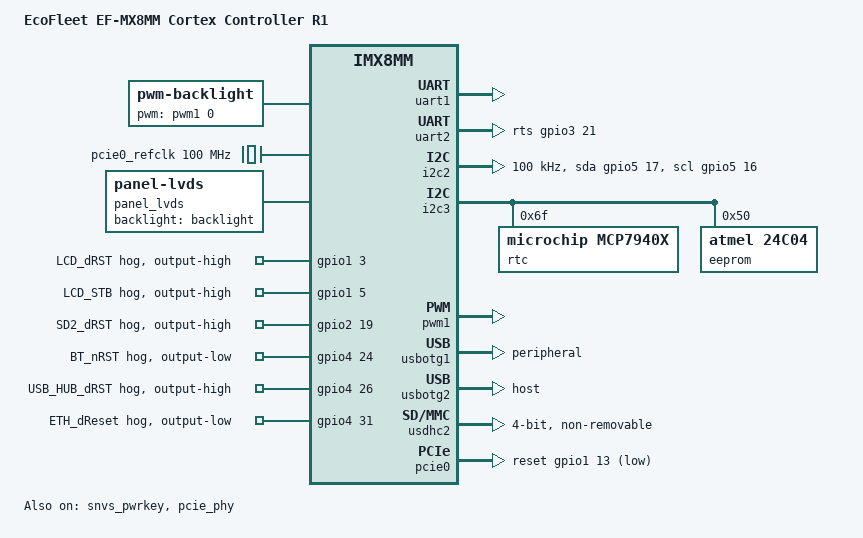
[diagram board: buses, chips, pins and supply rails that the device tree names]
// SPDX-License-Identifier: (GPL-2.0+ OR MIT)
/*
 * EcoFleet EF-MX8MM "Cortex Controller" R1 carrier for the Variscite
 * DART-MX8M-MINI (R1-spec SoM: no on-SoM Ethernet PHY, LVDS bridge, WiFi/BT).
 *
 * Only the carrier is described here; DDR, PMIC, SoM eMMC, WiFi/BT and the
 * SN65DSI84 LVDS bridge come from Variscite's imx8mm-var-dart.dtsi.
 * Schematic: EF-MX8MM R1.00.00. Design:
 * docs/superpowers/specs/2026-10-14-r1-board-support-design.md
 */

#include "imx8mm-var-dart.dtsi"

/ {
	model = "EcoFleet EF-MX8MM Cortex Controller R1";
	compatible = "ecofleet,ef-mx8mm", "variscite,imx8mm-var-dart", "fsl,imx8mm";

	aliases {
		/* Marker for udev (99-ecofleet-rs485.rules): the APU RS-485 port.
		 * The name must not end in a digit, or the kernel parses it as a
		 * numbered alias. */
		ecofleet-rs485-uart = &uart2;
	};

	chosen {
		stdout-path = &uart1;
	};

	/* R1 uses the SAI3 pads as GPIOs (Ethernet reset/IRQ, RTC wake, Ezurio
	 * wake); the SoM's WM8904 headphone/mic path is not wired out. */
	/delete-node/ sound-wm8904;

	backlight: backlight {
		compatible = "pwm-backlight";
		pwms = <&pwm1 0 1000000 0>;
		brightness-levels = < 0  1  2  3  4  5  6  7  8  9
				     10 11 12 13 14 15 16 17 18 19
				     20 21 22 23 24 25 26 27 28 29
				     30 31 32 33 34 35 36 37 38 39
				     40 41 42 43 44 45 46 47 48 49
				     50 51 52 53 54 55 56 57 58 59
				     60 61 62 63 64 65 66 67 68 69
				     70 71 72 73 74 75 76 77 78 79
				     80 81 82 83 84 85 86 87 88 89
				     90 91 92 93 94 95 96 97 98 99
				    100>;
		default-brightness-level = <80>;
		status = "okay";
	};

	/* 100 MHz PCIe reference clock from the carrier's clock generator (U24) */
	pcie0_refclk: pcie0-refclk {
		compatible = "fixed-clock";
		#clock-cells = <0>;
		clock-frequency = <100000000>;
	};
};

/* ---------------------------------------------------------------- UARTs */

/* Console. On R1 this UART is also wired to the Ezurio module, which is held
 * in reset (BT_nRST hog below) for the whole board-support phase. */
&uart1 {
	pinctrl-names = "default";
	pinctrl-0 = <&pinctrl_uart1>;
	status = "okay";
};

/* APU RS-485 (ISO1450). DE and /RE are tied to GPIO3_IO21: the kernel drives
 * DE high only while sending, so there is no echo and no userspace switching. */
&uart2 {
	pinctrl-names = "default";
	pinctrl-0 = <&pinctrl_uart2>;
	rts-gpios = <&gpio3 21 GPIO_ACTIVE_HIGH>;
	linux,rs485-enabled-at-boot-time;
	status = "okay";
};

/* Wired to the TCAN3414 CAN transceiver, but the i.MX8M Mini has no CAN
 * controller, so there is nothing to drive it with. */
&uart3 {
	status = "disabled";
};

/* ------------------------------------------------------------------ I2C */

/* Panel touch controller (added during bring-up once its address is known) */
&i2c2 {
	clock-frequency = <100000>;
	pinctrl-names = "default", "gpio";
	pinctrl-0 = <&pinctrl_i2c2>;
	pinctrl-1 = <&pinctrl_i2c2_gpio>;
	scl-gpios = <&gpio5 16 GPIO_ACTIVE_HIGH>;
	sda-gpios = <&gpio5 17 GPIO_ACTIVE_HIGH>;
	status = "okay";
};

&i2c3 {
	/* Battery-backed RTC; the boot script also probes 0x6f to detect R1 */
	rtc@6f {
		compatible = "microchip,mcp7940x";
		reg = <0x6f>;
	};

	/* BR24G04 4 Kbit carrier EEPROM (blank for now) */
	eeprom@50 {
		compatible = "atmel,24c04";
		reg = <0x50>;
		pagesize = <16>;
	};
};

&wm8904 {
	status = "disabled";
};

&sai3 {
	status = "disabled";
};

/* The MCP7940N is the only RTC (rtc0), as the DS1337 is on the dev kit */
&snvs_rtc {
	status = "disabled";
};

&snvs_pwrkey {
	status = "okay";
};

/* -------------------------------------------------------------- Display */

/* Riverdi 5" 800x480 LVDS (SM-RVT50HQLNWC00-B) behind the SoM's SN65DSI84.
 * Timings start from the dev kit's 800x480 panel; replace with the Riverdi
 * datasheet values during bring-up. */
&panel_lvds {
	compatible = "panel-lvds";
	data-mapping = "jeida-24";
	width-mm = <108>;
	height-mm = <65>;
	backlight = <&backlight>;

	panel-timing {
		clock-frequency = <33000000>;
		hactive = <800>;
		vactive = <480>;
		hback-porch = <30>;
		hfront-porch = <30>;
		vback-porch = <29>;
		vfront-porch = <13>;
		hsync-len = <48>;
		vsync-len = <3>;
		hsync-active = <0>;
		vsync-active = <0>;
		de-active = <1>;
		pixelclk-active = <0>;
	};
};

/* Backlight boost (MP3302) EN, PWM dimming */
&pwm1 {
	pinctrl-names = "default";
	pinctrl-0 = <&pinctrl_backlight>;
	status = "okay";
};

/* ------------------------------------------------------------- Ethernet */

/* KSZ9031 on the carrier over RGMII. No PHY node: the driver resets the PHY
 * through ETH_dReset and takes the first PHY it finds on MDIO, so the strap
 * address does not need to be known.
 *
 * OFF on R1: NVCC_ENET is 1.8 V but the PHY's DVDDH is 3.3 V (R1 hardware
 * finding 3), so its RGMII outputs would drive 3.3 V into 1.8 V SoC pads. The
 * PHY is held in reset instead (eth-rst-hog), where its strap pins are inputs.
 * To turn Ethernet on once the hardware is fixed: status = "okay" here and
 * delete eth-rst-hog (phy-reset-gpios needs that line). */
&fec1 {
	phy-mode = "rgmii-id";
	/delete-property/ phy-handle;
	/delete-property/ phy-supply;
	phy-reset-gpios = <&gpio4 31 GPIO_ACTIVE_LOW>;
	phy-reset-duration = <10>;
	phy-reset-post-delay = <1>;
	status = "disabled";
	/delete-node/ mdio;
};

/* Powered the SoM's own PHY, which the R1 SoM does not have */
&reg_eth_phy {
	status = "disabled";
};

/* ------------------------------------------------------------------ USB */

/* USB-C: Rd pull-downs on CC and no VBUS source, so device role only */
&usbotg1 {
	dr_mode = "peripheral";
	status = "okay";
};

/* Upstream of the USB2422 hub (2x USB-A); the hub handles over-current */
&usbotg2 {
	dr_mode = "host";
	disable-over-current;
	status = "okay";
};

/* --------------------------------------------------------- Carrier eMMC */

/* 4 GB recovery eMMC, 4-bit, VCCQ 3.3 V, so never switch to 1.8 V signalling.
 * Shows up as mmcblk1; the SoM eMMC stays mmcblk2. */
&usdhc2 {
	pinctrl-names = "default";
	pinctrl-0 = <&pinctrl_usdhc2>;
	bus-width = <4>;
	non-removable;
	no-1-8-v;
	no-sd;
	no-sdio;
	status = "okay";
};

/* ----------------------------------------------------------------- PCIe */

/* M.2 Key-M NVMe; reference clock comes in on the PCIE1_REF_CLK pads */
&pcie_phy {
	fsl,refclk-pad-mode = <IMX8_PCIE_REFCLK_PAD_INPUT>;
	fsl,tx-deemph-gen1 = <0x2d>;
	fsl,tx-deemph-gen2 = <0xf>;
	fsl,clkreq-unsupported;
	clocks = <&pcie0_refclk>;
	status = "okay";
};

&pcie0 {
	reset-gpio = <&gpio1 13 GPIO_ACTIVE_LOW>;
	clocks = <&clk IMX8MM_CLK_PCIE1_ROOT>, <&pcie0_refclk>,
		 <&clk IMX8MM_CLK_PCIE1_AUX>;
	assigned-clocks = <&clk IMX8MM_CLK_PCIE1_AUX>,
			  <&clk IMX8MM_CLK_PCIE1_CTRL>;
	assigned-clock-rates = <10000000>, <250000000>;
	assigned-clock-parents = <&clk IMX8MM_SYS_PLL2_50M>,
				 <&clk IMX8MM_SYS_PLL2_250M>;
	status = "okay";
};

/* ---------------------------------------------------------------- GPIOs */

&gpio1 {
	gpio-line-names = "", "", "", "LCD_dRST", "", "LCD_STB", "LCD_FLIP_LR", "",
			  "LCD_FLIP_UD", "", "I2C_IRQ", "BT_CTS", "BT_RTS", "PCIE1_dRST",
			  "PCIE1_WAKE";

	/* Panel and touch share this reset, so neither driver owns it */
	lcd-rst-hog {
		gpio-hog;
		gpios = <3 GPIO_ACTIVE_HIGH>;
		output-high;
		line-name = "LCD_dRST";
	};

	lcd-stb-hog {
		gpio-hog;
		gpios = <5 GPIO_ACTIVE_HIGH>;
		output-high;
		line-name = "LCD_STB";
	};
};

&gpio2 {
	gpio-line-names = "", "", "", "", "", "", "", "", "", "",
			  "", "", "", "", "", "", "", "", "", "SD2_dRST";

	sd2-rst-hog {
		gpio-hog;
		gpios = <19 GPIO_ACTIVE_HIGH>;
		output-high;
		line-name = "SD2_dRST";
	};
};

&gpio3 {
	gpio-line-names = "", "", "", "", "", "", "", "", "", "",
			  "", "", "", "", "", "", "", "", "", "",
			  "", "RS485_DE";
};

&gpio4 {
	gpio-line-names = "", "", "", "", "", "", "", "", "", "",
			  "", "", "", "", "", "", "", "", "", "",
			  "", "BT_RCVRY_MD", "FD_CAN_EN", "", "BT_nRST", "NVMe_ACT",
			  "USB_HUB_dRST", "CAB_TEMP", "", "", "", "ETH_dReset";

	/* Ezurio module held in reset until its own sub-project brings it up */
	bt-rst-hog {
		gpio-hog;
		gpios = <24 GPIO_ACTIVE_HIGH>;
		output-low;
		line-name = "BT_nRST";
	};

	usb-hub-rst-hog {
		gpio-hog;
		gpios = <26 GPIO_ACTIVE_HIGH>;
		output-high;
		line-name = "USB_HUB_dRST";
	};

	/* KSZ9031 held in reset while Ethernet is off on R1 (see &fec1) */
	eth-rst-hog {
		gpio-hog;
		gpios = <31 GPIO_ACTIVE_HIGH>;
		output-low;
		line-name = "ETH_dReset";
	};
};

&gpio5 {
	gpio-line-names = "EZURIO_WAKE", "RTC_WKUP", "ETH_INT";
};

/* -------------------------------------------------------------- Pinmux */

&iomuxc {
	pinctrl-names = "default";
	pinctrl-0 = <&pinctrl_hog>;

	/* Carrier GPIOs. Outputs 0x16; inputs 0x1c0 (pull-up, hysteresis);
	 * 0x100 (pull-down) where a pull-up would switch something on. */
	pinctrl_hog: hoggrp {
		fsl,pins = <
			MX8MM_IOMUXC_GPIO1_IO03_GPIO1_IO3		0x16	/* LCD_dRST */
			MX8MM_IOMUXC_GPIO1_IO05_GPIO1_IO5		0x16	/* LCD_STB */
			MX8MM_IOMUXC_GPIO1_IO06_GPIO1_IO6		0x100	/* LCD_FLIP_LR */
			MX8MM_IOMUXC_GPIO1_IO08_GPIO1_IO8		0x100	/* LCD_FLIP_UD */
			MX8MM_IOMUXC_GPIO1_IO10_GPIO1_IO10		0x1c0	/* I2C_IRQ */
			MX8MM_IOMUXC_GPIO1_IO11_GPIO1_IO11		0x100	/* BT_CTS */
			MX8MM_IOMUXC_GPIO1_IO12_GPIO1_IO12		0x100	/* BT_RTS */
			MX8MM_IOMUXC_GPIO1_IO13_GPIO1_IO13		0x16	/* PCIE1_dRST */
			MX8MM_IOMUXC_GPIO1_IO14_GPIO1_IO14		0x1c0	/* PCIE1_WAKE */
			MX8MM_IOMUXC_SD2_RESET_B_GPIO2_IO19		0x16	/* SD2_dRST */
			MX8MM_IOMUXC_SAI2_RXFS_GPIO4_IO21		0x100	/* BT_RCVRY_MD */
			MX8MM_IOMUXC_SAI2_RXC_GPIO4_IO22		0x100	/* FD_CAN_EN: off = CAN standby */
			MX8MM_IOMUXC_SAI2_TXFS_GPIO4_IO24		0x16	/* BT_nRST */
			MX8MM_IOMUXC_SAI2_TXC_GPIO4_IO25		0x1c0	/* NVMe_ACT */
			MX8MM_IOMUXC_SAI2_TXD0_GPIO4_IO26		0x16	/* USB_HUB_dRST */
			MX8MM_IOMUXC_SAI2_MCLK_GPIO4_IO27		0x1c0	/* CAB_TEMP (TMP05) */
			MX8MM_IOMUXC_SAI3_TXFS_GPIO4_IO31		0x16	/* ETH_dReset */
			MX8MM_IOMUXC_SAI3_TXC_GPIO5_IO0			0x100	/* EZURIO_WAKE */
			MX8MM_IOMUXC_SAI3_TXD_GPIO5_IO1			0x1c0	/* RTC_WKUP */
			MX8MM_IOMUXC_SAI3_MCLK_GPIO5_IO2		0x1c0	/* ETH_INT */
		>;
	};

	pinctrl_uart1: uart1grp {
		fsl,pins = <
			MX8MM_IOMUXC_UART1_RXD_UART1_DCE_RX		0x140
			MX8MM_IOMUXC_UART1_TXD_UART1_DCE_TX		0x140
		>;
	};

	pinctrl_uart2: uart2grp {
		fsl,pins = <
			MX8MM_IOMUXC_UART2_RXD_UART2_DCE_RX		0x140
			MX8MM_IOMUXC_UART2_TXD_UART2_DCE_TX		0x140
			MX8MM_IOMUXC_SAI5_RXD0_GPIO3_IO21		0x16	/* RS485_DE */
		>;
	};

	pinctrl_i2c2: i2c2grp {
		fsl,pins = <
			MX8MM_IOMUXC_I2C2_SCL_I2C2_SCL			0x400001c3
			MX8MM_IOMUXC_I2C2_SDA_I2C2_SDA			0x400001c3
		>;
	};

	pinctrl_i2c2_gpio: i2c2grp-gpio {
		fsl,pins = <
			MX8MM_IOMUXC_I2C2_SCL_GPIO5_IO16		0x1c3
			MX8MM_IOMUXC_I2C2_SDA_GPIO5_IO17		0x1c3
		>;
	};

	pinctrl_backlight: backlightgrp {
		fsl,pins = <
			MX8MM_IOMUXC_GPIO1_IO01_PWM1_OUT		0x06
		>;
	};

	/* VSELECT stays muxed so the SoM's SD2 I/O supply is driven (held at
	 * 3.3 V by no-1-8-v), not left to a default pad state. */
	pinctrl_usdhc2: usdhc2grp {
		fsl,pins = <
			MX8MM_IOMUXC_SD2_CLK_USDHC2_CLK			0x190
			MX8MM_IOMUXC_SD2_CMD_USDHC2_CMD			0x1d0
			MX8MM_IOMUXC_SD2_DATA0_USDHC2_DATA0		0x1d0
			MX8MM_IOMUXC_SD2_DATA1_USDHC2_DATA1		0x1d0
			MX8MM_IOMUXC_SD2_DATA2_USDHC2_DATA2		0x1d0
			MX8MM_IOMUXC_SD2_DATA3_USDHC2_DATA3		0x1d0
			MX8MM_IOMUXC_GPIO1_IO04_USDHC2_VSELECT		0x1d0
		>;
	};
};
